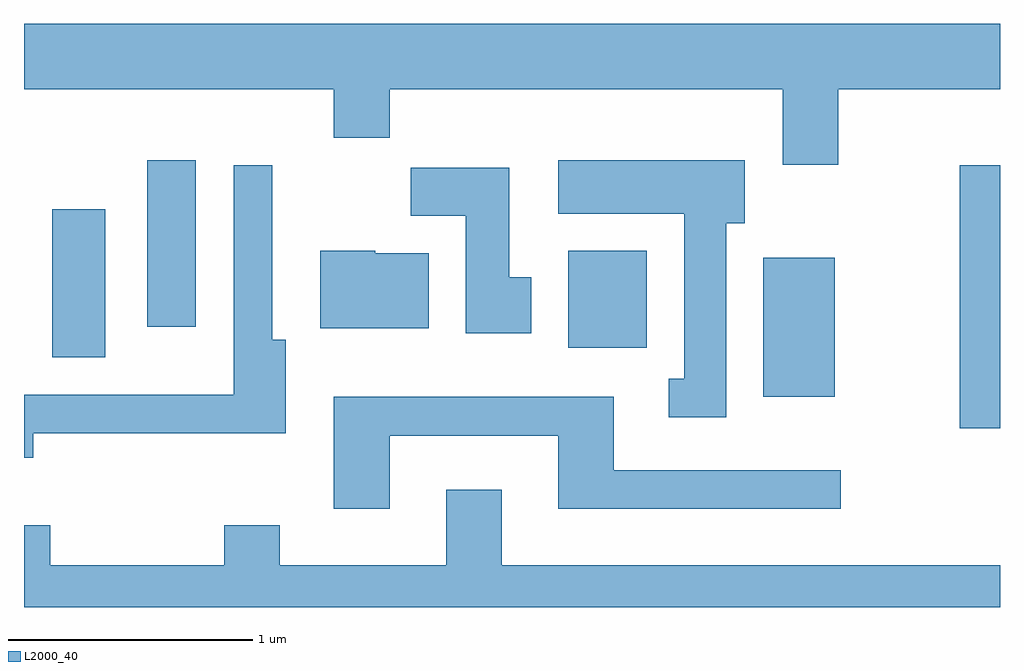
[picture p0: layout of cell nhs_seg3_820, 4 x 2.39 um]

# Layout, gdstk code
import gdstk
lib = gdstk.Library(unit=1e-6, precision=1e-09)
def R(c, l, rs):  # rectangles x0, y0, x1, y1
    for r in rs: c.add(gdstk.rectangle(r[:2], r[2:], *l))
def P(c, l, *ps):  # polygons
    for p in ps: c.add(gdstk.Polygon(p, *l))
L2000_40 = (2000, 40)

nhs_seg3_820 = lib.new_cell('nhs_seg3_820')
R(nhs_seg3_820, L2000_40, [(213.446,1124.626,213.611,1125.704), (212.641,1124.756,212.934,1125.324), (209.726,1124.916,209.944,1125.524), (211.841,1124.956,212.164,1125.354), (210.116,1125.041,210.314,1125.724)])
P(nhs_seg3_820, L2000_40, [(212.949,1126.016),(213.611,1126.016),(213.611,1126.284),(209.611,1126.284),(209.611,1126.016),(210.881,1126.016),(210.881,1125.816),(211.109,1125.816),(211.109,1126.016),(212.721,1126.016),(212.721,1125.706),(212.949,1125.706)],
  [(212.489,1125.466),(212.564,1125.466),(212.564,1125.724),(211.801,1125.724),(211.801,1125.506),(212.316,1125.506),(212.316,1124.829),(212.253,1124.829),(212.253,1124.671),(212.489,1124.671)],
  [(209.649,1124.606),(210.684,1124.606),(210.684,1124.989),(210.629,1124.989),(210.629,1125.703),(210.471,1125.703),(210.471,1124.764),(209.611,1124.764),(209.611,1124.506),(209.649,1124.506)],
  [(211.689,1125.244),(211.599,1125.244),(211.599,1125.694),(211.196,1125.694),(211.196,1125.496),(211.421,1125.496),(211.421,1125.016),(211.689,1125.016)],
  [(211.269,1125.344),(211.05,1125.344),(211.05,1125.354),(210.826,1125.354),(210.826,1125.036),(211.269,1125.036)],
  [(211.109,1124.596),(211.801,1124.596),(211.801,1124.296),(212.958,1124.296),(212.958,1124.454),(212.029,1124.454),(212.029,1124.754),(210.881,1124.754),(210.881,1124.296),(211.109,1124.296)],
  [(213.611,1124.064),(211.569,1124.064),(211.569,1124.374),(211.341,1124.374),(211.341,1124.064),(210.659,1124.064),(210.659,1124.229),(210.431,1124.229),(210.431,1124.064),(209.719,1124.064),(209.719,1124.229),(209.611,1124.229),(209.611,1123.892),(213.611,1123.892)])

lib.write_gds('nhs_seg3_820.gds')
